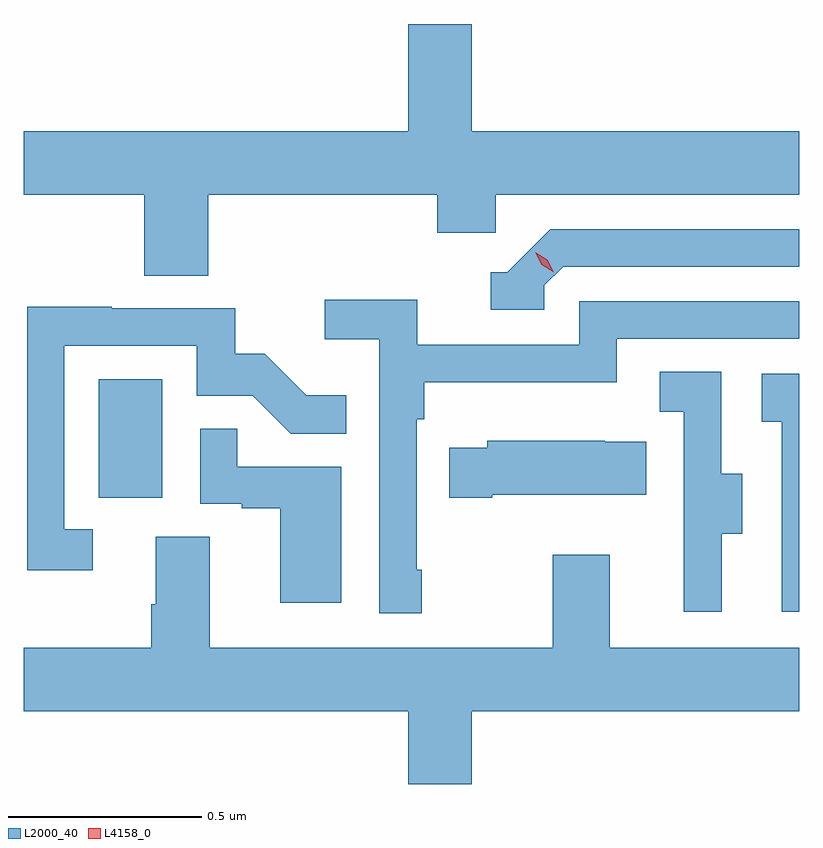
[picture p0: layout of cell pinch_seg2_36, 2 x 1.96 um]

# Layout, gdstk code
import gdstk
lib = gdstk.Library(unit=1e-6, precision=1e-09)
def R(c, l, rs):  # rectangles x0, y0, x1, y1
    for r in rs: c.add(gdstk.rectangle(r[:2], r[2:], *l))
def P(c, l, *ps):  # polygons
    for p in ps: c.add(gdstk.Polygon(p, *l))
L2000_40 = (2000, 40)
L4158_0 = (4158, 0)

pinch_seg2_36 = lib.new_cell('pinch_seg2_36')
R(pinch_seg2_36, L2000_40, [(1123.25,654.846,1123.414,655.153)])
P(pinch_seg2_36, L2000_40, [(1123.532,655.628),(1124.123,655.628),(1124.123,655.53),(1124.274,655.53),(1124.274,655.628),(1125.057,655.628),(1125.057,655.792),(1124.212,655.792),(1124.212,656.069),(1124.048,656.069),(1124.048,655.792),(1123.057,655.792),(1123.057,655.628),(1123.367,655.628),(1123.367,655.42),(1123.532,655.42)],
  [(1124.4,655.395),(1124.448,655.443),(1125.057,655.443),(1125.057,655.539),(1124.415,655.539),(1124.304,655.428),(1124.261,655.428),(1124.261,655.332),(1124.4,655.332)],
  [(1124.083,654.661),(1124.07,654.661),(1124.07,655.049),(1124.09,655.049),(1124.09,655.145),(1124.586,655.145),(1124.586,655.257),(1125.057,655.257),(1125.057,655.353),(1124.49,655.353),(1124.49,655.242),(1124.072,655.242),(1124.072,655.358),(1123.833,655.358),(1123.833,655.256),(1123.974,655.256),(1123.974,654.549),(1124.083,654.549)],
  [(1123.234,654.765),(1123.161,654.765),(1123.161,655.239),(1123.503,655.239),(1123.503,655.11),(1123.647,655.11),(1123.745,655.012),(1123.889,655.012),(1123.889,655.111),(1123.785,655.111),(1123.678,655.218),(1123.602,655.218),(1123.602,655.335),(1123.283,655.335),(1123.283,655.34),(1123.065,655.34),(1123.065,654.66),(1123.234,654.66)],
  [(1124.857,654.754),(1124.911,654.754),(1124.911,654.909),(1124.856,654.909),(1124.856,655.172),(1124.697,655.172),(1124.697,655.069),(1124.76,655.069),(1124.76,654.765),(1124.759,654.765),(1124.759,654.552),(1124.857,654.552)],
  [(1125.057,655.167),(1124.961,655.167),(1124.961,655.043),(1125.012,655.043),(1125.012,654.552),(1125.057,654.552)],
  [(1123.876,654.927),(1123.607,654.927),(1123.607,655.025),(1123.512,655.025),(1123.512,654.831),(1123.619,654.831),(1123.619,654.819),(1123.718,654.819),(1123.718,654.576),(1123.876,654.576)],
  [(1124.266,654.854),(1124.663,654.854),(1124.663,654.991),(1124.555,654.991),(1124.555,654.994),(1124.253,654.994),(1124.253,654.976),(1124.155,654.976),(1124.155,654.847),(1124.266,654.847)],
  [(1124.212,654.296),(1125.057,654.296),(1125.057,654.46),(1124.569,654.46),(1124.569,654.7),(1124.422,654.7),(1124.422,654.46),(1123.537,654.46),(1123.537,654.746),(1123.397,654.746),(1123.397,654.572),(1123.385,654.572),(1123.385,654.46),(1123.057,654.46),(1123.057,654.296),(1124.048,654.296),(1124.048,654.108),(1124.212,654.108)])
P(pinch_seg2_36, L4158_0, [(1124.424,655.429),(1124.393,655.448),(1124.376,655.48),(1124.376,655.48),(1124.376,655.48),(1124.407,655.461),(1124.424,655.429),(1124.424,655.429)])

lib.write_gds('pinch_seg2_36.gds')
